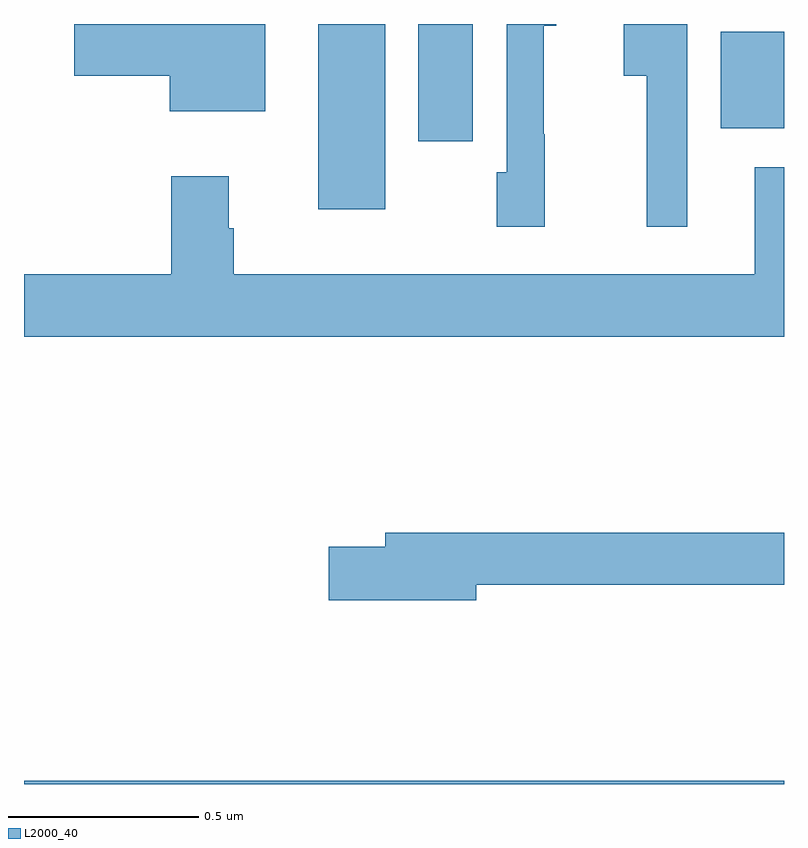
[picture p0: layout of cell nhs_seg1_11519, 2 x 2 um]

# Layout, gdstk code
import gdstk
lib = gdstk.Library(unit=1e-6, precision=1e-09)
def R(c, l, rs):  # rectangles x0, y0, x1, y1
    for r in rs: c.add(gdstk.rectangle(r[:2], r[2:], *l))
def P(c, l, *ps):  # polygons
    for p in ps: c.add(gdstk.Polygon(p, *l))
L2000_40 = (2000, 40)

nhs_seg1_11519 = lib.new_cell('nhs_seg1_11519')
R(nhs_seg1_11519, L2000_40, [(254,573.199,256,573.208), (254.774,574.712,254.95,575.199), (255.038,574.89,255.181,575.199), (255.833,574.925,256,575.179)])
P(nhs_seg1_11519, L2000_40, [(255.371,574.909),(255.368,574.909),(255.368,575.195),(255.4,575.195),(255.4,575.199),(255.27,575.199),(255.27,574.809),(255.244,574.809),(255.244,574.665),(255.371,574.665)],
  [(255.745,575.199),(255.578,575.199),(255.578,575.063),(255.639,575.063),(255.639,574.665),(255.745,574.665)],
  [(254.635,575.199),(254.132,575.199),(254.132,575.063),(254.384,575.063),(254.384,574.97),(254.635,574.97)],
  [(256,574.822),(255.923,574.822),(255.923,574.54),(254.552,574.54),(254.552,574.661),(254.539,574.661),(254.539,574.798),(254.387,574.798),(254.387,574.54),(254,574.54),(254,574.376),(256,574.376)],
  [(255.19,573.724),(256,573.724),(256,573.86),(254.951,573.86),(254.951,573.824),(254.802,573.824),(254.802,573.682),(255.19,573.682)])

lib.write_gds('nhs_seg1_11519.gds')
